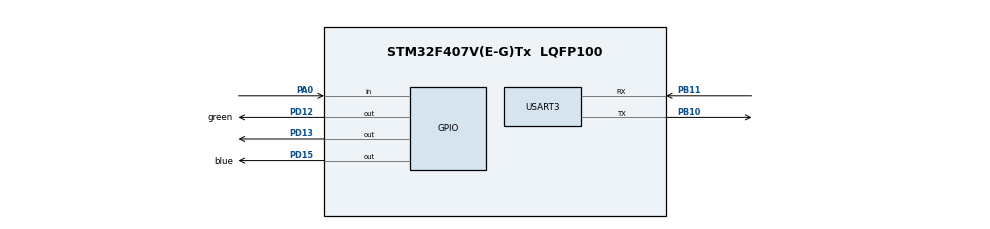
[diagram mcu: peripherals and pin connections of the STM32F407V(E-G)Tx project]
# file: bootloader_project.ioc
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Mcu.Family=STM32F4
Mcu.Name=STM32F407V(E-G)Tx
Mcu.Package=LQFP100
NVIC.PriorityGroup=NVIC_PRIORITYGROUP_4
NVIC.USART3_IRQn=true\:0\:0\:false\:false\:true\:true\:true\:true
PA0-WKUP.Signal=GPIO_Input
PA13.Mode=Serial_Wire
PA13.Signal=SYS_JTMS-SWDIO
PA14.Mode=Serial_Wire
PA14.Signal=SYS_JTCK-SWCLK
PB10.Mode=Asynchronous
PB10.Signal=USART3_TX
PB11.Mode=Asynchronous
PB11.Signal=USART3_RX
PD12.GPIO_Label=green
PD12.Signal=GPIO_Output
PD13.Signal=GPIO_Output
PD15.GPIO_Label=blue
PD15.Signal=GPIO_Output
PH0-OSC_IN.Mode=HSE-External-Oscillator
PH0-OSC_IN.Signal=RCC_OSC_IN
PH1-OSC_OUT.Mode=HSE-External-Oscillator
PH1-OSC_OUT.Signal=RCC_OSC_OUT
ProjectManager.HeapSize=0x200
ProjectManager.StackSize=0x400
ProjectManager.TargetToolchain=STM32CubeIDE
RCC.48MHZClocksFreq_Value=84000000
RCC.AHBFreq_Value=168000000
RCC.APB1CLKDivider=RCC_HCLK_DIV4
RCC.APB1Freq_Value=42000000
RCC.APB1TimFreq_Value=84000000
RCC.APB2CLKDivider=RCC_HCLK_DIV2
RCC.APB2Freq_Value=84000000
RCC.APB2TimFreq_Value=168000000
RCC.CortexFreq_Value=168000000
RCC.HCLKFreq_Value=168000000
RCC.HSE_VALUE=25000000
RCC.HSI_VALUE=16000000
RCC.LSE_VALUE=32768
RCC.PLLM=8
RCC.PLLN=168
RCC.SYSCLKFreq_VALUE=168000000
RCC.SYSCLKSource=RCC_SYSCLKSOURCE_PLLCLK
RCC.VCOOutputFreq_Value=336000000
USART3.VirtualMode=VM_ASYNC
VP_CRC_VS_CRC.Mode=CRC_Activate
board=custom

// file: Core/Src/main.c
/* USER CODE BEGIN Header */
/**
  ******************************************************************************
  * @file           : main.c
  * @brief          : Main program body
  ******************************************************************************
  * @attention
  *
  * Copyright (c) 2023 STMicroelectronics.
  * All rights reserved.
  *
  * This software is licensed under terms that can be found in the LICENSE file
  * in the root directory of this software component.
  * If no LICENSE file comes with this software, it is provided AS-IS.
  *
  ******************************************************************************
  */
/* USER CODE END Header */
#include "main.h"

/* USER CODE BEGIN Includes */
#include <stdio.h>
#include "string.h"
#include "bootloader/all_includes.h"
/* USER CODE END Includes */

/* USER CODE BEGIN PM */
#define MAJOR 0 // Основная версия загрузчика
#define MINOR 2 // Дополнительная версия загрузчика
/* USER CODE END PM */

/* USER CODE BEGIN PV */
const uint8_t bl_version[2] = {MAJOR, MINOR};
/* USER CODE END PV */

void SystemClock_Config(void);
static void MX_GPIO_Init(void);
static void MX_USART3_UART_Init(void);
static void MX_CRC_Init(void);
/* USER CODE BEGIN PFP */
static void go_to_application(void);

/* USER CODE END PFP */

int
main(void) {

    /* MCU Configuration--------------------------------------------------------*/

    /* Reset of all peripherals, Initializes the Flash interface and the Systick. */
    HAL_Init();

    /* Configure the system clock */
    SystemClock_Config();

    /* Initialize all configured peripherals */
    MX_GPIO_Init();
    MX_USART3_UART_Init();
    MX_CRC_Init();
    /* USER CODE BEGIN 2 */

    printf("Загрузчик версии: (%d.%d)\n", bl_version[0], bl_version[1]);

    HAL_GPIO_WritePin(GPIOD, GPIO_PIN_12, GPIO_PIN_SET); /* Включаем зеленый светодиод */

    uint8_t bootloader_mode_flag = 0;

    /* Проверяем нажатие пользовательской клавиши */
    bootloader_mode_flag = check_bootloader_mode();

    if (bootloader_mode_flag) {
        bootloader_mode();
    }

    /* Переходим в User application */
    go_to_application();

    /* USER CODE END 2 */

    /* Infinite loop */
    while (1) {

    }
}

void
SystemClock_Config(void) {
    RCC_OscInitTypeDef RCC_OscInitStruct = {0};
    RCC_ClkInitTypeDef RCC_ClkInitStruct = {0};

    /** Configure the main internal regulator output voltage
  */
    __HAL_RCC_PWR_CLK_ENABLE();
    __HAL_PWR_VOLTAGESCALING_CONFIG(PWR_REGULATOR_VOLTAGE_SCALE1);

    /** Initializes the RCC Oscillators according to the specified parameters
  * in the RCC_OscInitTypeDef structure.
  */
    RCC_OscInitStruct.OscillatorType = RCC_OSCILLATORTYPE_HSI;
    RCC_OscInitStruct.HSIState = RCC_HSI_ON;
    RCC_OscInitStruct.HSICalibrationValue = RCC_HSICALIBRATION_DEFAULT;
    RCC_OscInitStruct.PLL.PLLState = RCC_PLL_ON;
    RCC_OscInitStruct.PLL.PLLSource = RCC_PLLSOURCE_HSI;
    RCC_OscInitStruct.PLL.PLLM = 8;
    RCC_OscInitStruct.PLL.PLLN = 168;
    RCC_OscInitStruct.PLL.PLLP = RCC_PLLP_DIV2;
    RCC_OscInitStruct.PLL.PLLQ = 4;
    if (HAL_RCC_OscConfig(&RCC_OscInitStruct) != HAL_OK) {
        Error_Handler();
    }

    /** Initializes the CPU, AHB and APB buses clocks
  */
    RCC_ClkInitStruct.ClockType = RCC_CLOCKTYPE_HCLK | RCC_CLOCKTYPE_SYSCLK | RCC_CLOCKTYPE_PCLK1 | RCC_CLOCKTYPE_PCLK2;
    RCC_ClkInitStruct.SYSCLKSource = RCC_SYSCLKSOURCE_PLLCLK;
    RCC_ClkInitStruct.AHBCLKDivider = RCC_SYSCLK_DIV1;
    RCC_ClkInitStruct.APB1CLKDivider = RCC_HCLK_DIV4;
    RCC_ClkInitStruct.APB2CLKDivider = RCC_HCLK_DIV2;

    if (HAL_RCC_ClockConfig(&RCC_ClkInitStruct, FLASH_LATENCY_5) != HAL_OK) {
        Error_Handler();
    }
}

static void
MX_CRC_Init(void) {

    hcrc.Instance = CRC;
    if (HAL_CRC_Init(&hcrc) != HAL_OK) {
        Error_Handler();
    }
}

static void
MX_USART3_UART_Init(void) {

    huart3.Instance = USART3;
    huart3.Init.BaudRate = 115200;
    huart3.Init.WordLength = UART_WORDLENGTH_8B;
    huart3.Init.StopBits = UART_STOPBITS_1;
    huart3.Init.Parity = UART_PARITY_NONE;
    huart3.Init.Mode = UART_MODE_TX_RX;
    huart3.Init.HwFlowCtl = UART_HWCONTROL_NONE;
    huart3.Init.OverSampling = UART_OVERSAMPLING_16;
    if (HAL_UART_Init(&huart3) != HAL_OK) {
        Error_Handler();
    }
}

static void
MX_GPIO_Init(void) {
    GPIO_InitTypeDef GPIO_InitStruct = {0};

    /* GPIO Ports Clock Enable */
    __HAL_RCC_GPIOH_CLK_ENABLE();
    __HAL_RCC_GPIOA_CLK_ENABLE();
    __HAL_RCC_GPIOB_CLK_ENABLE();
    __HAL_RCC_GPIOD_CLK_ENABLE();

    /*Configure GPIO pin Output Level */
    HAL_GPIO_WritePin(GPIOD, green_Pin | GPIO_PIN_13 | blue_Pin, GPIO_PIN_RESET);

    /*Configure GPIO pin : PA0 */
    GPIO_InitStruct.Pin = GPIO_PIN_0;
    GPIO_InitStruct.Mode = GPIO_MODE_INPUT;
    GPIO_InitStruct.Pull = GPIO_NOPULL;
    HAL_GPIO_Init(GPIOA, &GPIO_InitStruct);

    /*Configure GPIO pins : green_Pin PD13 blue_Pin */
    GPIO_InitStruct.Pin = green_Pin | GPIO_PIN_13 | blue_Pin;
    GPIO_InitStruct.Mode = GPIO_MODE_OUTPUT_PP;
    GPIO_InitStruct.Pull = GPIO_NOPULL;
    GPIO_InitStruct.Speed = GPIO_SPEED_FREQ_LOW;
    HAL_GPIO_Init(GPIOD, &GPIO_InitStruct);
}

/* USER CODE BEGIN 4 */

/**
 * \brief           Перенаправляем вывод printf на UART
 */
int
_write(int fd, char* ptr, int len) {
    HAL_UART_Transmit(&huart3, (uint8_t*)ptr, len, HAL_MAX_DELAY);
    return len;
}

void
go_to_application(void) {

    void (*app_reset_handler)(void);

    printf("Переходим в User application\n");

    /* 1. Настройте MSP, считав значение из сектора с пользовательским приложением. */
    uint32_t msp_value = *(volatile uint32_t*)APP_FLASH_START_ADDRESS;
    printf("Значение MSP: %#lx\n", msp_value);

    //__set_MSP(msp_value);
    //SCB->VTOR = APP_FLASH_START_ADDRESS;

    /* 2. Теперь извлеките адрес обработчика сброса пользовательского приложения из местоположения APP_FLASH_START_ADDRESS + FLASH_BLOCK_OFFSET */
    uint32_t resethandler_address = *(volatile uint32_t*)(APP_FLASH_START_ADDRESS + FLASH_BLOCK_OFFSET);
    printf("Адрес обработчика сброса User application: %#lx\r\n", resethandler_address);

    app_reset_handler = (void*)resethandler_address;

    HAL_GPIO_WritePin(GPIOD, GPIO_PIN_12, GPIO_PIN_RESET); /* Выключаем зеленый светодиод */

    /* 3. Перейдите к обработчику сброса пользовательского приложения */
    app_reset_handler(); /* вызовите обработчик сброса приложения */
}

/* USER CODE END 4 */

void
Error_Handler(void) {
    __disable_irq();
    while (1) {}
}
